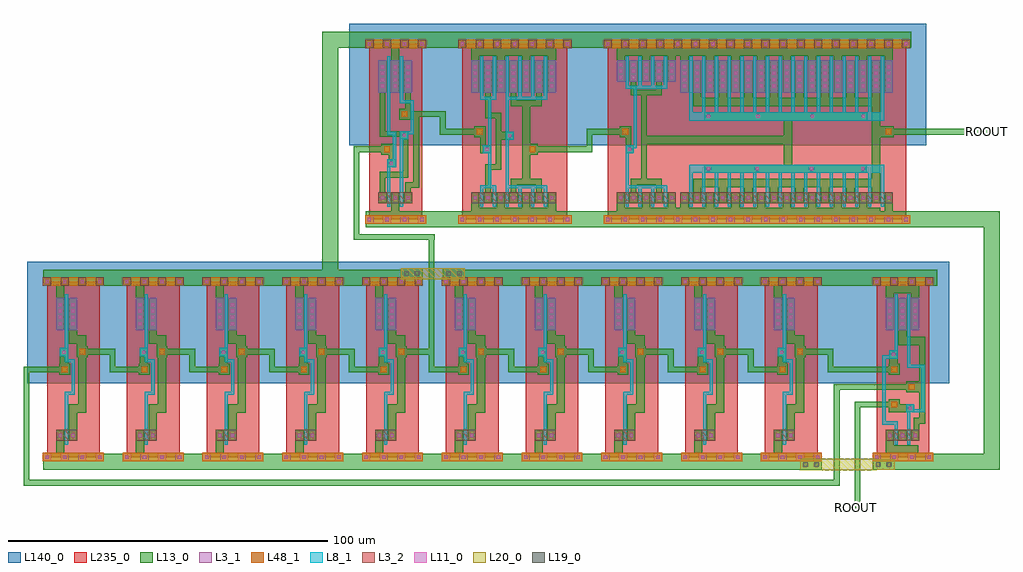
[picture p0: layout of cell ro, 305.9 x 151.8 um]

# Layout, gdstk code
import gdstk
lib = gdstk.Library(unit=1e-6, precision=1e-07)
def R(c, l, rs):  # rectangles x0, y0, x1, y1
    for r in rs: c.add(gdstk.rectangle(r[:2], r[2:], *l))
def A(c, l, x, y, w, h, nx, ny, dx, dy):  # array of equal rectangles
    R(c, l, [(x+i*dx, y+j*dy, x+i*dx+w, y+j*dy+h) for i in range(nx) for j in range(ny)])
def P(c, l, *ps):  # polygons
    for p in ps: c.add(gdstk.Polygon(p, *l))
L3_1 = (3, 1)
L3_2 = (3, 2)
L8_1 = (8, 1)
L11_0 = (11, 0)
L13_0 = (13, 0)
L19_0 = (19, 0)
L20_0 = (20, 0)
L48_1 = (48, 1)
L140_0 = (140, 0)
L235_0 = (235, 0)

nand2 = lib.new_cell('NAND2')
A(nand2, L3_1, -1.3, -1.3, 2.6, 2.6, 4, 1, 5.5, 0)
R(nand2, L3_1, [(2.8,39.7,13.4,49.9), (2.8,39.7,13.4,49.9)])
A(nand2, L3_2, -1.3, 53.7, 2.6, 2.6, 4, 1, 5.5, 0)
R(nand2, L3_2, [(2.8,5.1,13.4,8.5)])
P(nand2, L8_1, [(5.6,3.9),(5.6,10.2),(1.8,10.2),(1.8,31.9),(4,31.9),(4,33.5),(5.6,33.5),(5.6,51.1),(6.6,51.1),(6.6,30.9),(2.8,30.9),(2.8,11.2),(6.6,11.2),(6.6,3.9)],
  [(9.6,3.9),(9.6,14),(9.2,14),(9.2,16.6),(11.8,16.6),(11.8,15),(14,15),(14,28),(9.6,28),(9.6,51.1),(10.6,51.1),(10.6,29),(15,29),(15,14),(10.6,14),(10.6,3.9)])
A(nand2, L11_0, -0.5, -0.5, 1, 1, 4, 2, 5.5, 55)
A(nand2, L11_0, 11.6, 41.3, 1, 1, 1, 4, 0, 2)
R(nand2, L11_0, [(3.6,6.3,4.6,7.3), (7.6,6.3,8.6,7.3), (7.6,6.3,8.6,7.3), (11.6,6.3,12.6,7.3), (10,14.8,11,15.8), (4.8,31.7,5.8,32.7), (3.6,41.3,4.6,42.3), (3.6,41.3,4.6,42.3), (3.6,41.3,4.6,42.3), (7.6,41.3,8.6,42.3), (7.6,41.3,8.6,42.3), (7.6,41.3,8.6,42.3), (7.6,41.3,8.6,42.3), (3.6,43.3,4.6,44.3), (3.6,43.3,4.6,44.3), (3.6,43.3,4.6,44.3), (7.6,43.3,8.6,44.3), (7.6,43.3,8.6,44.3), (7.6,43.3,8.6,44.3), (7.6,43.3,8.6,44.3), (3.6,45.3,4.6,46.3), (3.6,45.3,4.6,46.3), (3.6,45.3,4.6,46.3), (7.6,45.3,8.6,46.3), (7.6,45.3,8.6,46.3), (7.6,45.3,8.6,46.3), (7.6,45.3,8.6,46.3), (3.6,47.3,4.6,48.3), (3.6,47.3,4.6,48.3), (3.6,47.3,4.6,48.3), (7.6,47.3,8.6,48.3), (7.6,47.3,8.6,48.3), (7.6,47.3,8.6,48.3), (7.6,47.3,8.6,48.3)])
R(nand2, L13_0, [(6.8,5.1,9.4,8.5)])
P(nand2, L13_0, [(-1.3,-1.3),(-1.3,1.3),(2.8,1.3),(2.8,8.5),(5.4,8.5),(5.4,3.7),(13,3.7),(13,1.3),(17.8,1.3),(17.8,-1.3)],
  [(3.8,14),(3.8,18.2),(7.2,18.2),(7.2,16.6),(11.8,16.6),(11.8,14)],
  [(3.8,25.8),(3.8,29.2),(4,29.2),(4,33.5),(6.6,33.5),(6.6,29.2),(7.2,29.2),(7.2,25.8)],
  [(10.8,5.1),(10.8,8.5),(11.6,8.5),(11.6,12.3),(13.4,12.3),(13.4,20.3),(9.3,20.3),(9.3,23.7),(13.4,23.7),(13.4,35.1),(6.8,35.1),(6.8,49.9),(9.4,49.9),(9.4,37.7),(15.2,37.7),(15.2,10.5),(13.4,10.5),(13.4,5.1)],
  [(2.8,39.7),(2.8,53.7),(-1.3,53.7),(-1.3,56.3),(17.8,56.3),(17.8,53.7),(13.4,53.7),(13.4,39.7),(10.8,39.7),(10.8,51.3),(5.4,51.3),(5.4,39.7)])
R(nand2, L48_1, [(-1.3,-1.3,17.8,1.3), (4.6,15.6,6.4,17.4), (10.1,21.1,11.9,22.9), (4.6,26.6,6.4,28.4), (-1.3,53.7,17.8,56.3)])
R(nand2, L140_0, [(-6.3,23.2,22.8,61.3)])
R(nand2, L235_0, [(0,0,16.5,55)])
nand2.add(gdstk.Label('gnd', (0,0), layer=48, texttype=0))
nand2.add(gdstk.Label('Y', (11,22), layer=48, texttype=0))
nand2.add(gdstk.Label('B', (5.5,16.5), layer=48, texttype=0))
nand2.add(gdstk.Label('A', (5.5,27.5), layer=48, texttype=0))
nand2.add(gdstk.Label('vdd', (0,55), layer=48, texttype=0))

buf_x1 = lib.new_cell('BUF_X1')
A(buf_x1, L3_1, -1.3, -1.3, 2.6, 2.6, 4, 1, 5.5, 0)
R(buf_x1, L3_1, [(2.8,39.7,13.4,49.9), (2.8,39.7,13.4,49.9)])
A(buf_x1, L3_2, -1.3, 53.7, 2.6, 2.6, 4, 1, 5.5, 0)
R(buf_x1, L3_2, [(2.8,5.1,13.4,8.5)])
P(buf_x1, L8_1, [(5.6,3.9),(5.6,18.9),(7.4,18.9),(7.4,26.4),(5.6,26.4),(5.6,51.1),(6.6,51.1),(6.6,27.4),(8.4,27.4),(8.4,16.3),(6.6,16.3),(6.6,3.9)],
  [(9.6,3.9),(9.6,27.7),(12.9,27.7),(12.9,36.4),(9.6,36.4),(9.6,51.1),(10.6,51.1),(10.6,37.4),(13.9,37.4),(13.9,26.7),(12.2,26.7),(12.2,25.1),(10.6,25.1),(10.6,3.9)])
A(buf_x1, L11_0, -0.5, -0.5, 1, 1, 4, 2, 5.5, 55)
A(buf_x1, L11_0, 3.6, 41.3, 1, 1, 1, 4, 0, 2)
A(buf_x1, L11_0, 11.6, 41.3, 1, 1, 1, 4, 0, 2)
R(buf_x1, L11_0, [(3.6,6.3,4.6,7.3), (7.6,6.3,8.6,7.3), (7.6,6.3,8.6,7.3), (11.6,6.3,12.6,7.3), (6.4,17.1,7.4,18.1), (10.4,25.9,11.4,26.9), (7.6,41.3,8.6,42.3), (7.6,41.3,8.6,42.3), (7.6,43.3,8.6,44.3), (7.6,43.3,8.6,44.3), (7.6,45.3,8.6,46.3), (7.6,45.3,8.6,46.3), (7.6,47.3,8.6,48.3), (7.6,47.3,8.6,48.3)])
P(buf_x1, L13_0, [(-1.3,-1.3),(-1.3,1.3),(6.8,1.3),(6.8,8.5),(9.4,8.5),(9.4,1.3),(17.8,1.3),(17.8,-1.3)],
  [(5.6,16.3),(5.6,18.9),(6,18.9),(6,20.3),(3.8,20.3),(3.8,23.7),(7.8,23.7),(7.8,18.9),(8.2,18.9),(8.2,16.3)],
  [(2.8,5.1),(2.8,8.5),(3.2,8.5),(3.2,14.9),(10.4,14.9),(10.4,25.1),(9.6,25.1),(9.6,25.9),(3.2,25.9),(3.2,39.7),(2.8,39.7),(2.8,49.9),(5.4,49.9),(5.4,39.7),(5,39.7),(5,27.7),(12.2,27.7),(12.2,13.1),(5,13.1),(5,8.5),(5.4,8.5),(5.4,5.1)],
  [(10.8,5.1),(10.8,8.5),(11.2,8.5),(11.2,11.7),(13.8,11.7),(13.8,31.3),(9.3,31.3),(9.3,34.7),(11.2,34.7),(11.2,39.7),(10.8,39.7),(10.8,49.9),(13.4,49.9),(13.4,39.7),(13,39.7),(13,33.1),(15.6,33.1),(15.6,9.9),(13,9.9),(13,8.5),(13.4,8.5),(13.4,5.1)],
  [(6.8,39.7),(6.8,53.7),(-1.3,53.7),(-1.3,56.3),(17.8,56.3),(17.8,53.7),(9.4,53.7),(9.4,39.7)])
R(buf_x1, L48_1, [(-1.3,-1.3,17.8,1.3), (4.6,21.1,6.4,22.9), (10.1,32.1,11.9,33.9), (-1.3,53.7,17.8,56.3)])
R(buf_x1, L140_0, [(-6.3,23.2,22.8,61.3)])
R(buf_x1, L235_0, [(0,0,16.5,55)])
buf_x1.add(gdstk.Label('vdd', (0,55), layer=48, texttype=0))
buf_x1.add(gdstk.Label('gnd', (0,0), layer=48, texttype=0))
buf_x1.add(gdstk.Label('Y', (11,33), layer=48, texttype=0))
buf_x1.add(gdstk.Label('A', (5.5,22), layer=48, texttype=0))

buf_x4 = lib.new_cell('BUF_X4')
A(buf_x4, L3_1, -1.3, -1.3, 2.6, 2.6, 7, 1, 5.5, 0)
R(buf_x4, L3_1, [(2.8,39.7,29.4,49.9), (2.8,39.7,29.4,49.9)])
A(buf_x4, L3_2, -1.3, 53.7, 2.6, 2.6, 7, 1, 5.5, 0)
R(buf_x4, L3_2, [(2.8,5.1,29.4,8.5)])
P(buf_x4, L8_1, [(5.6,3.9),(5.6,10.7),(8.1,10.7),(8.1,20.7),(6.5,20.7),(6.5,23.3),(8.1,23.3),(8.1,37.5),(5.6,37.5),(5.6,51.1),(6.6,51.1),(6.6,38.5),(9.6,38.5),(9.6,51.1),(10.6,51.1),(10.6,37.5),(9.1,37.5),(9.1,10.7),(10.6,10.7),(10.6,3.9),(9.6,3.9),(9.6,9.7),(6.6,9.7),(6.6,3.9)],
  [(13.6,3.9),(13.6,51.1),(14.6,51.1),(14.6,38.5),(17.6,38.5),(17.6,51.1),(18.6,51.1),(18.6,38.5),(21.6,38.5),(21.6,51.1),(22.6,51.1),(22.6,38.5),(25.6,38.5),(25.6,51.1),(26.6,51.1),(26.6,37.5),(14.6,37.5),(14.6,27.5),(16.2,27.5),(16.2,24.9),(14.6,24.9),(14.6,10.7),(26.6,10.7),(26.6,3.9),(25.6,3.9),(25.6,9.7),(22.6,9.7),(22.6,3.9),(21.6,3.9),(21.6,9.7),(18.6,9.7),(18.6,3.9),(17.6,3.9),(17.6,9.7),(14.6,9.7),(14.6,3.9)])
A(buf_x4, L11_0, -0.5, -0.5, 1, 1, 7, 2, 5.5, 55)
A(buf_x4, L11_0, 3.6, 6.3, 1, 1, 3, 2, 4, 35)
A(buf_x4, L11_0, 11.6, 6.3, 1, 1, 5, 2, 4, 35)
A(buf_x4, L11_0, 3.6, 43.3, 1, 1, 3, 3, 4, 2)
A(buf_x4, L11_0, 11.6, 43.3, 1, 1, 5, 3, 4, 2)
R(buf_x4, L11_0, [(7.3,21.5,8.3,22.5), (14.4,25.7,15.4,26.7)])
P(buf_x4, L13_0, [(-1.3,-1.3),(-1.3,1.3),(2.8,1.3),(2.8,8.5),(5.4,8.5),(5.4,3.7),(10.8,3.7),(10.8,8.5),(13.4,8.5),(13.4,3.7),(18.8,3.7),(18.8,8.5),(21.4,8.5),(21.4,3.7),(26.8,3.7),(26.8,8.5),(29.4,8.5),(29.4,1.3),(34.3,1.3),(34.3,-1.3)],
  [(5.6,20.7),(5.6,25.8),(3.8,25.8),(3.8,29.2),(7.4,29.2),(7.4,23.3),(9.1,23.3),(9.1,20.7)],
  [(6.8,5.1),(6.8,8.5),(7.2,8.5),(7.2,17.3),(10.5,17.3),(10.5,31.7),(7.2,31.7),(7.2,39.7),(6.8,39.7),(6.8,49.9),(9.4,49.9),(9.4,39.7),(9,39.7),(9,33.5),(12.3,33.5),(12.3,27.5),(16.2,27.5),(16.2,24.9),(12.3,24.9),(12.3,15.5),(9,15.5),(9,8.5),(9.4,8.5),(9.4,5.1)],
  [(14.8,5.1),(14.8,8.5),(15.2,8.5),(15.2,12.7),(18.8,12.7),(18.8,35.5),(15.2,35.5),(15.2,39.7),(14.8,39.7),(14.8,49.9),(17.4,49.9),(17.4,39.7),(17,39.7),(17,37.3),(23.2,37.3),(23.2,39.7),(22.8,39.7),(22.8,49.9),(25.4,49.9),(25.4,39.7),(25,39.7),(25,35.5),(21.4,35.5),(21.4,23.7),(23.7,23.7),(23.7,20.3),(21.4,20.3),(21.4,12.7),(25,12.7),(25,8.5),(25.4,8.5),(25.4,5.1),(22.8,5.1),(22.8,8.5),(23.2,8.5),(23.2,10.9),(17,10.9),(17,8.5),(17.4,8.5),(17.4,5.1)],
  [(2.8,39.7),(2.8,53.7),(-1.3,53.7),(-1.3,56.3),(34.3,56.3),(34.3,53.7),(29.4,53.7),(29.4,39.7),(26.8,39.7),(26.8,51.3),(21.4,51.3),(21.4,39.7),(18.8,39.7),(18.8,51.3),(13.4,51.3),(13.4,39.7),(10.8,39.7),(10.8,51.3),(5.4,51.3),(5.4,39.7)])
R(buf_x4, L48_1, [(-1.3,-1.3,34.3,1.3), (21.1,21.1,22.9,22.9), (4.6,26.6,6.4,28.4), (-1.3,53.7,34.3,56.3)])
R(buf_x4, L140_0, [(-6.3,23.2,39.3,61.3)])
R(buf_x4, L235_0, [(0,0,33,55)])
buf_x4.add(gdstk.Label('Y', (22,22), layer=48, texttype=0))
buf_x4.add(gdstk.Label('A', (5.5,27.5), layer=48, texttype=0))
buf_x4.add(gdstk.Label('vdd', (0,55), layer=48, texttype=0))

buf_x16 = lib.new_cell('BUF_X16')
A(buf_x16, L3_1, -1.3, -1.3, 2.6, 2.6, 18, 1, 5.5, 0)
R(buf_x16, L3_1, [(22.8,39.7,89.4,49.9), (22.8,39.7,89.4,49.9), (2.8,43.1,21.4,49.9), (2.8,43.1,21.4,49.9)])
A(buf_x16, L3_2, -1.3, 53.7, 2.6, 2.6, 18, 1, 5.5, 0)
R(buf_x16, L3_2, [(2.8,5.1,21.4,8.5), (22.8,5.1,89.4,8.5)])
P(buf_x16, L8_1, [(25.6,3.9),(25.6,17.2),(86.6,17.2),(86.6,3.9),(85.6,3.9),(85.6,14.6),(82.6,14.6),(82.6,3.9),(81.6,3.9),(81.6,14.6),(78.6,14.6),(78.6,3.9),(77.6,3.9),(77.6,14.6),(74.6,14.6),(74.6,3.9),(73.6,3.9),(73.6,14.6),(70.6,14.6),(70.6,3.9),(69.6,3.9),(69.6,14.6),(66.6,14.6),(66.6,3.9),(65.6,3.9),(65.6,14.6),(62.6,14.6),(62.6,3.9),(61.6,3.9),(61.6,14.6),(58.6,14.6),(58.6,3.9),(57.6,3.9),(57.6,14.6),(54.6,14.6),(54.6,3.9),(53.6,3.9),(53.6,14.6),(50.6,14.6),(50.6,3.9),(49.6,3.9),(49.6,14.6),(46.6,14.6),(46.6,3.9),(45.6,3.9),(45.6,14.6),(42.6,14.6),(42.6,3.9),(41.6,3.9),(41.6,14.6),(38.6,14.6),(38.6,3.9),(37.6,3.9),(37.6,14.6),(34.6,14.6),(34.6,3.9),(33.6,3.9),(33.6,14.6),(30.6,14.6),(30.6,3.9),(29.6,3.9),(29.6,14.6),(26.6,14.6),(26.6,3.9)],
  [(5.6,3.9),(5.6,23.3),(8.1,23.3),(8.1,40.9),(5.6,40.9),(5.6,51.1),(6.6,51.1),(6.6,41.9),(9.6,41.9),(9.6,51.1),(10.6,51.1),(10.6,41.9),(13.6,41.9),(13.6,51.1),(14.6,51.1),(14.6,41.9),(17.6,41.9),(17.6,51.1),(18.6,51.1),(18.6,40.9),(9.1,40.9),(9.1,22.3),(8.2,22.3),(8.2,20.7),(6.6,20.7),(6.6,10.7),(18.6,10.7),(18.6,3.9),(17.6,3.9),(17.6,9.7),(14.6,9.7),(14.6,3.9),(13.6,3.9),(13.6,9.7),(10.6,9.7),(10.6,3.9),(9.6,3.9),(9.6,9.7),(6.6,9.7),(6.6,3.9)],
  [(25.6,31),(25.6,51.1),(26.6,51.1),(26.6,33.6),(29.6,33.6),(29.6,51.1),(30.6,51.1),(30.6,33.6),(33.6,33.6),(33.6,51.1),(34.6,51.1),(34.6,33.6),(37.6,33.6),(37.6,51.1),(38.6,51.1),(38.6,33.6),(41.6,33.6),(41.6,51.1),(42.6,51.1),(42.6,33.6),(45.6,33.6),(45.6,51.1),(46.6,51.1),(46.6,33.6),(49.6,33.6),(49.6,51.1),(50.6,51.1),(50.6,33.6),(53.6,33.6),(53.6,51.1),(54.6,51.1),(54.6,33.6),(57.6,33.6),(57.6,51.1),(58.6,51.1),(58.6,33.6),(61.6,33.6),(61.6,51.1),(62.6,51.1),(62.6,33.6),(65.6,33.6),(65.6,51.1),(66.6,51.1),(66.6,33.6),(69.6,33.6),(69.6,51.1),(70.6,51.1),(70.6,33.6),(73.6,33.6),(73.6,51.1),(74.6,51.1),(74.6,33.6),(77.6,33.6),(77.6,51.1),(78.6,51.1),(78.6,33.6),(81.6,33.6),(81.6,51.1),(82.6,51.1),(82.6,33.6),(85.6,33.6),(85.6,51.1),(86.6,51.1),(86.6,31)])
A(buf_x16, L11_0, -0.5, -0.5, 1, 1, 18, 2, 5.5, 55)
A(buf_x16, L11_0, 3.6, 6.3, 1, 1, 22, 1, 4, 0)
A(buf_x16, L11_0, 23.6, 41.3, 1, 1, 17, 4, 4, 2)
A(buf_x16, L11_0, 3.6, 44, 1, 1, 5, 3, 4, 2)
R(buf_x16, L11_0, [(31.1,15.4,32.1,16.4), (46.4,15.4,47.4,16.4), (63.4,15.4,64.4,16.4), (79.4,15.4,80.4,16.4), (6.4,21.5,7.4,22.5), (31.1,31.8,32.1,32.8), (46.6,31.8,47.6,32.8), (63.6,31.8,64.6,32.8), (79.6,31.8,80.6,32.8)])
P(buf_x16, L13_0, [(-1.3,-1.3),(-1.3,1.3),(2.8,1.3),(2.8,8.5),(5.4,8.5),(5.4,3.7),(10.8,3.7),(10.8,8.5),(13.4,8.5),(13.4,3.7),(18.8,3.7),(18.8,8.5),(21.4,8.5),(21.4,3.7),(22.8,3.7),(22.8,8.5),(25.4,8.5),(25.4,3.7),(30.8,3.7),(30.8,8.5),(33.4,8.5),(33.4,3.7),(38.8,3.7),(38.8,8.5),(41.4,8.5),(41.4,3.7),(46.8,3.7),(46.8,8.5),(49.4,8.5),(49.4,3.7),(54.8,3.7),(54.8,8.5),(57.4,8.5),(57.4,3.7),(62.8,3.7),(62.8,8.5),(65.4,8.5),(65.4,3.7),(70.8,3.7),(70.8,8.5),(73.4,8.5),(73.4,3.7),(78.8,3.7),(78.8,8.5),(81.4,8.5),(81.4,3.7),(85.4,3.7),(85.4,1.3),(86.8,1.3),(86.8,8.5),(89.4,8.5),(89.4,1.3),(94.8,1.3),(94.8,-1.3)],
  [(5.6,20.7),(5.6,25.8),(3.8,25.8),(3.8,29.2),(7.4,29.2),(7.4,23.3),(8.2,23.3),(8.2,20.7)],
  [(6.8,5.1),(6.8,8.5),(7.2,8.5),(7.2,12.7),(10.5,12.7),(10.5,38.9),(7.2,38.9),(7.2,43.1),(6.8,43.1),(6.8,49.9),(9.4,49.9),(9.4,43.1),(9,43.1),(9,40.7),(15.2,40.7),(15.2,43.1),(14.8,43.1),(14.8,49.9),(17.4,49.9),(17.4,43.1),(17,43.1),(17,38.9),(12.3,38.9),(12.3,26.2),(55.2,26.2),(55.2,31),(30.3,31),(30.3,33.6),(81.4,33.6),(81.4,31),(57.8,31),(57.8,17.2),(81.2,17.2),(81.2,14.6),(30.3,14.6),(30.3,17.2),(55.2,17.2),(55.2,23.6),(12.3,23.6),(12.3,12.7),(17,12.7),(17,8.5),(17.4,8.5),(17.4,5.1),(14.8,5.1),(14.8,8.5),(15.2,8.5),(15.2,10.9),(9,10.9),(9,8.5),(9.4,8.5),(9.4,5.1)],
  [(26.8,5.1),(26.8,12.7),(82.8,12.7),(82.8,35.5),(26.8,35.5),(26.8,49.9),(29.4,49.9),(29.4,38.1),(34.8,38.1),(34.8,49.9),(37.4,49.9),(37.4,38.1),(42.8,38.1),(42.8,49.9),(45.4,49.9),(45.4,38.1),(50.8,38.1),(50.8,49.9),(53.4,49.9),(53.4,38.1),(58.8,38.1),(58.8,49.9),(61.4,49.9),(61.4,38.1),(66.8,38.1),(66.8,49.9),(69.4,49.9),(69.4,38.1),(74.8,38.1),(74.8,49.9),(77.4,49.9),(77.4,38.1),(82.8,38.1),(82.8,49.9),(85.4,49.9),(85.4,29.2),(89.7,29.2),(89.7,25.8),(85.4,25.8),(85.4,5.1),(82.8,5.1),(82.8,10.1),(77.4,10.1),(77.4,5.1),(74.8,5.1),(74.8,10.1),(69.4,10.1),(69.4,5.1),(66.8,5.1),(66.8,10.1),(61.4,10.1),(61.4,5.1),(58.8,5.1),(58.8,10.1),(53.4,10.1),(53.4,5.1),(50.8,5.1),(50.8,10.1),(45.4,10.1),(45.4,5.1),(42.8,5.1),(42.8,10.1),(37.4,10.1),(37.4,5.1),(34.8,5.1),(34.8,10.1),(29.4,10.1),(29.4,5.1)],
  [(22.8,39.7),(22.8,51.3),(21.4,51.3),(21.4,43.1),(18.8,43.1),(18.8,51.3),(13.4,51.3),(13.4,43.1),(10.8,43.1),(10.8,51.3),(5.4,51.3),(5.4,43.1),(2.8,43.1),(2.8,53.7),(-1.3,53.7),(-1.3,56.3),(94.8,56.3),(94.8,53.7),(89.4,53.7),(89.4,39.7),(86.8,39.7),(86.8,51.3),(81.4,51.3),(81.4,39.7),(78.8,39.7),(78.8,51.3),(73.4,51.3),(73.4,39.7),(70.8,39.7),(70.8,51.3),(65.4,51.3),(65.4,39.7),(62.8,39.7),(62.8,51.3),(57.4,51.3),(57.4,39.7),(54.8,39.7),(54.8,51.3),(49.4,51.3),(49.4,39.7),(46.8,39.7),(46.8,51.3),(41.4,51.3),(41.4,39.7),(38.8,39.7),(38.8,51.3),(33.4,51.3),(33.4,39.7),(30.8,39.7),(30.8,51.3),(25.4,51.3),(25.4,39.7)])
R(buf_x16, L48_1, [(-1.3,-1.3,94.8,1.3), (4.6,26.6,6.4,28.4), (4.6,26.6,6.4,28.4), (87.1,26.6,88.9,28.4), (-1.3,53.7,94.8,56.3)])
R(buf_x16, L140_0, [(-6.3,23.2,99.8,61.3)])
R(buf_x16, L235_0, [(0,0,93.5,55)])
buf_x16.add(gdstk.Label('vdd', (0,55), layer=48, texttype=0))
buf_x16.add(gdstk.Label('Y', (88,27.5), layer=48, texttype=0))
buf_x16.add(gdstk.Label('A', (5.5,27.5), layer=48, texttype=0))
buf_x16.add(gdstk.Label('A', (5.5,27.5), layer=48, texttype=0))
buf_x16.add(gdstk.Label('gnd', (0,0), layer=48, texttype=0))

via_1 = lib.new_cell('via_1')
R(via_1, L13_0, [(-1.7,-1.7,1.7,1.7)])
R(via_1, L19_0, [(-0.7,-0.7,0.7,0.7)])
R(via_1, L20_0, [(-1.7,-1.7,1.7,1.7)])

inv_x1 = lib.new_cell('INV_X1')
A(inv_x1, L3_1, -1.3, -1.3, 2.6, 2.6, 4, 1, 5.5, 0)
R(inv_x1, L3_1, [(2.8,39.7,9.4,49.9), (2.8,39.7,9.4,49.9)])
A(inv_x1, L3_2, -1.3, 53.7, 2.6, 2.6, 4, 1, 5.5, 0)
R(inv_x1, L3_2, [(2.8,5.1,9.4,8.5)])
P(inv_x1, L8_1, [(5.6,3.9),(5.6,20.5),(7.7,20.5),(7.7,29.7),(5.6,29.7),(5.6,31.6),(4,31.6),(4,34.2),(5.6,34.2),(5.6,51.1),(6.6,51.1),(6.6,30.7),(8.7,30.7),(8.7,19.5),(6.6,19.5),(6.6,3.9)])
A(inv_x1, L11_0, -0.5, -0.5, 1, 1, 4, 2, 5.5, 55)
A(inv_x1, L11_0, 3.6, 41.3, 1, 1, 1, 4, 0, 2)
A(inv_x1, L11_0, 7.6, 41.3, 1, 1, 1, 4, 0, 2)
R(inv_x1, L11_0, [(3.6,6.3,4.6,7.3), (7.6,6.3,8.6,7.3), (4.8,32.4,5.8,33.4)])
P(inv_x1, L13_0, [(-1.3,-1.3),(-1.3,1.3),(2.8,1.3),(2.8,8.5),(5.4,8.5),(5.4,1.3),(17.8,1.3),(17.8,-1.3)],
  [(3.8,25.8),(3.8,29.2),(4,29.2),(4,34.2),(6.6,34.2),(6.6,29.2),(7.2,29.2),(7.2,25.8)],
  [(6.8,5.1),(6.8,16.5),(9.7,16.5),(9.7,31.3),(9.3,31.3),(9.3,35.6),(6.8,35.6),(6.8,49.9),(9.4,49.9),(9.4,38.2),(12.3,38.2),(12.3,34.7),(12.7,34.7),(12.7,31.3),(12.3,31.3),(12.3,13.9),(9.4,13.9),(9.4,5.1)],
  [(2.8,39.7),(2.8,53.7),(-1.3,53.7),(-1.3,56.3),(17.8,56.3),(17.8,53.7),(5.4,53.7),(5.4,39.7)])
R(inv_x1, L48_1, [(-1.3,-1.3,17.8,1.3), (4.6,26.6,6.4,28.4), (10.1,32.1,11.9,33.9), (-1.3,53.7,17.8,56.3)])
R(inv_x1, L140_0, [(-6.3,23.2,22.8,61.3)])
R(inv_x1, L235_0, [(0,0,16.5,55)])
inv_x1.add(gdstk.Label('A', (5.5,27.5), layer=48, texttype=0))
inv_x1.add(gdstk.Label('vdd', (0,55), layer=48, texttype=0))
inv_x1.add(gdstk.Label('gnd', (0,0), layer=48, texttype=0))
inv_x1.add(gdstk.Label('Y', (11,33), layer=48, texttype=0))

c_ro = lib.new_cell('ro')
R(c_ro, L140_0, [(407.3,-66.8,415.6,-28.7)])
c_ro.add(gdstk.FlexPath([(260.8,40.8),(431.8,40.8)], 5, ends="flush", simple_path=True, layer=13, datatype=0))  # L13_0
c_ro.add(gdstk.FlexPath([(285,-33.8),(440,-33.8)], 5, ends="flush", simple_path=True, layer=13, datatype=0))  # L13_0
c_ro.add(gdstk.FlexPath([(159.8,-33.8),(278.8,-33.8)], 5, ends="flush", simple_path=True, layer=13, datatype=0))  # L13_0
c_ro.add(gdstk.FlexPath([(159.8,-91.5),(403.8,-91.5)], 5, ends="flush", simple_path=True, layer=13, datatype=0))  # L13_0
c_ro.add(gdstk.FlexPath([(263.5,40.8),(249.8,40.8),(249.8,-35.8)], 5, ends="flush", simple_path=True, layer=13, datatype=0))  # L13_0
c_ro.add(gdstk.FlexPath([(260.8,-15.5),(431.8,-15.5)], 5, ends="flush", simple_path=True, layer=13, datatype=0))  # L13_0
c_ro.add(gdstk.FlexPath([(430.3,-15.5),(457,-15.5),(457,-91.5),(420,-91.5)], 5, ends="flush", simple_path=True, layer=13, datatype=0))  # L13_0
c_ro.add(gdstk.FlexPath([(247,-57),(256.5,-57),(256.5,-62.5),(266.5,-62.5)], 1.8, ends="flush", simple_path=True, layer=13, datatype=0))  # L13_0
c_ro.add(gdstk.FlexPath([(222,-57),(231.5,-57),(231.5,-62.5),(241.5,-62.5)], 1.8, ends="flush", simple_path=True, layer=13, datatype=0))  # L13_0
c_ro.add(gdstk.FlexPath([(172,-57),(181.5,-57),(181.5,-62.5),(191.5,-62.5)], 1.8, ends="flush", simple_path=True, layer=13, datatype=0))  # L13_0
c_ro.add(gdstk.FlexPath([(197,-57),(206.5,-57),(206.5,-62.5),(216.5,-62.5)], 1.8, ends="flush", simple_path=True, layer=13, datatype=0))  # L13_0
c_ro.add(gdstk.FlexPath([(347,-57),(356.5,-57),(356.5,-62.5),(366.5,-62.5)], 1.8, ends="flush", simple_path=True, layer=13, datatype=0))  # L13_0
c_ro.add(gdstk.FlexPath([(322,-57),(331.5,-57),(331.5,-62.5),(341.5,-62.5)], 1.8, ends="flush", simple_path=True, layer=13, datatype=0))  # L13_0
c_ro.add(gdstk.FlexPath([(272,-57),(281.5,-57),(281.5,-62.5),(291.5,-62.5)], 1.8, ends="flush", simple_path=True, layer=13, datatype=0))  # L13_0
c_ro.add(gdstk.FlexPath([(297,-57),(306.5,-57),(306.5,-62.5),(316.5,-62.5)], 1.8, ends="flush", simple_path=True, layer=13, datatype=0))  # L13_0
c_ro.add(gdstk.FlexPath([(273,17.5),(285,17.5),(285,12),(296.5,12)], 1.8, ends="flush", simple_path=True, layer=13, datatype=0))  # L13_0
c_ro.add(gdstk.FlexPath([(313,6.5),(331,6.5),(331,12),(342,12)], 1.8, ends="flush", simple_path=True, layer=13, datatype=0))  # L13_0
c_ro.add(gdstk.FlexPath([(372,-57),(381.5,-57),(381.5,-62.5),(391.5,-62.5)], 1.8, ends="flush", simple_path=True, layer=13, datatype=0))  # L13_0
c_ro.add(gdstk.FlexPath([(397,-57),(406.5,-57),(406.5,-62.5),(426.5,-62.5)], 1.8, ends="flush", simple_path=True, layer=13, datatype=0))  # L13_0
c_ro.add(gdstk.FlexPath([(281.5,-57),(281.5,-21)], 1.8, ends="flush", simple_path=True, layer=13, datatype=0))  # L13_0
c_ro.add(gdstk.FlexPath([(282.5,-21),(258,-21),(258,6.5),(267.5,6.5)], 1.8, ends="flush", simple_path=True, layer=13, datatype=0))  # L13_0
c_ro.add(gdstk.FlexPath([(432,-68),(408.5,-68),(408.5,-98),(154.5,-98),(154.5,-62.5),(166.5,-62.5)], 1.8, ends="flush", simple_path=True, layer=13, datatype=0))  # L13_0
c_ro.add(gdstk.FlexPath([(425,12),(457.5,12)], 1.8, ends="flush", simple_path=True, layer=13, datatype=0))  # L13_0
c_ro.add(gdstk.FlexPath([(426.5,-73.5),(415,-73.5),(415,-99),(415,-106)], 1.8, ends="flush", simple_path=True, layer=13, datatype=0))  # L13_0
c_ro.add(gdstk.FlexPath([(273.5,-32.5),(290.3,-32.5)], 3.5, ends="flush", simple_path=True, layer=20, datatype=0))  # L20_0
c_ro.add(gdstk.FlexPath([(397,-92.3),(420.8,-92.3)], 3.5, ends="flush", simple_path=True, layer=20, datatype=0))  # L20_0
c_ro.add(gdstk.Reference(nand2, (421,-90)))
c_ro.add(gdstk.Reference(buf_x1, (262,-15.5)))
c_ro.add(gdstk.Reference(buf_x4, (291.1,-15.5)))
c_ro.add(gdstk.Reference(buf_x16, (336.7,-15.5)))
c_ro.add(gdstk.Reference(via_1, (277,-32.5)))
c_ro.add(gdstk.Reference(via_1, (286.8,-32.5)))
c_ro.add(gdstk.Reference(via_1, (290.2,-32.5)))
c_ro.add(gdstk.Reference(via_1, (273.6,-32.5)))
c_ro.add(gdstk.Reference(via_1, (402.1,-92.3)))
c_ro.add(gdstk.Reference(via_1, (398.7,-92.3)))
c_ro.add(gdstk.Reference(via_1, (424.9,-92.3)))
c_ro.add(gdstk.Reference(via_1, (421.5,-92.3)))
r = gdstk.Reference(inv_x1, (161,-90)); r.repetition = gdstk.Repetition(10, 1, v1=(25,0), v2=(0,0)); c_ro.add(r)
r = gdstk.Reference(inv_x1, (161,-90)); r.repetition = gdstk.Repetition(10, 1, v1=(25,0), v2=(0,0)); c_ro.add(r)
c_ro.add(gdstk.Label('ROOUT', (414.3,-105.8), layer=13, texttype=0))
c_ro.add(gdstk.Label('ROOUT', (455.5,12), layer=13, texttype=0))

lib.write_gds('ro.gds')
